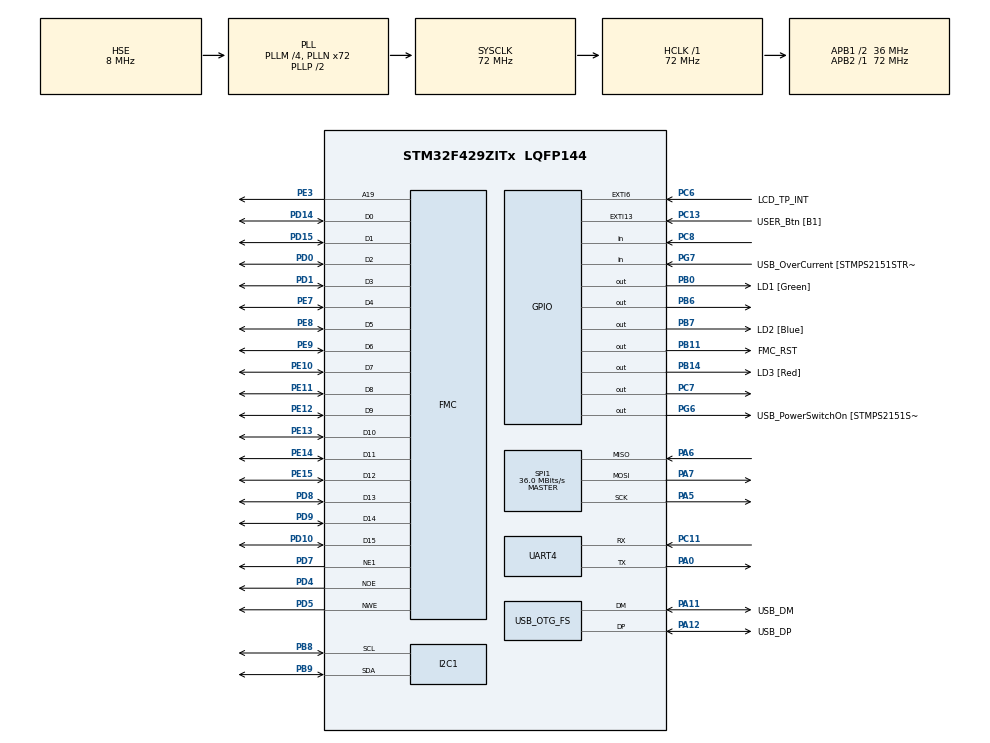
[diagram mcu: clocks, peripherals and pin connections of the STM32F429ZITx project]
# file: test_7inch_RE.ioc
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DMA2D.ColorMode=DMA2D_OUTPUT_RGB565
FMC.AddressSetupTime1=6
FMC.BusTurnAroundDuration1=0
FMC.DataSetupTime1=6
I2C1.I2C_Mode=I2C_Fast
Mcu.Family=STM32F4
Mcu.Name=STM32F429ZITx
Mcu.Package=LQFP144
Mcu.UserConstants=VSync_TIM_Period,16000-1;VSync_TIM_Prescaler,180/2-1
NVIC.DMA2D_IRQn=true\:0\:0\:false\:false\:true\:true\:true
NVIC.EXTI15_10_IRQn=true\:0\:0\:false\:false\:true\:true\:true
NVIC.EXTI9_5_IRQn=true\:0\:0\:false\:false\:true\:true\:true
NVIC.OTG_FS_IRQn=true\:0\:0\:false\:false\:true\:false\:true
NVIC.PriorityGroup=NVIC_PRIORITYGROUP_4
NVIC.TIM6_DAC_IRQn=true\:0\:0\:false\:false\:true\:true\:true
NVIC.TIM7_IRQn=true\:0\:0\:false\:false\:true\:true\:true
PA0/WKUP.Mode=Asynchronous
PA0/WKUP.Signal=UART4_TX
PA1.GPIO_Label=RMII_REF_CLK [LAN8742A-CZ-TR_REFCLK0]
PA1.Signal=ETH_REF_CLK
PA10.GPIO_Label=USB_ID
PA10.Signal=USB_OTG_FS_ID
PA11.GPIO_Label=USB_DM
PA11.Mode=Device_Only
PA11.Signal=USB_OTG_FS_DM
PA12.GPIO_Label=USB_DP
PA12.Mode=Device_Only
PA12.Signal=USB_OTG_FS_DP
PA13.GPIO_Label=TMS
PA13.Mode=Serial_Wire
PA13.Signal=SYS_JTMS-SWDIO
PA14.GPIO_Label=TCK
PA14.Mode=Serial_Wire
PA14.Signal=SYS_JTCK-SWCLK
PA2.GPIO_Label=RMII_MDIO [LAN8742A-CZ-TR_MDIO]
PA2.Signal=ETH_MDIO
PA5.Mode=Full_Duplex_Master
PA5.Signal=SPI1_SCK
PA6.Mode=Full_Duplex_Master
PA6.Signal=SPI1_MISO
PA7.Mode=Full_Duplex_Master
PA7.Signal=SPI1_MOSI
PA8.GPIO_Label=USB_SOF [TP1]
PA8.Signal=USB_OTG_FS_SOF
PA9.GPIO_Label=USB_VBUS
PA9.Signal=USB_OTG_FS_VBUS
PB0.GPIO_Label=LD1 [Green]
PB0.Signal=GPIO_Output
PB11.GPIO_Label=FMC_RST
PB11.Signal=GPIO_Output
PB14.GPIO_Label=LD3 [Red]
PB14.Signal=GPIO_Output
PB6.Signal=GPIO_Output
PB7.GPIO_Label=LD2 [Blue]
PB7.Signal=GPIO_Output
PB8.Mode=I2C
PB8.Signal=I2C1_SCL
PB9.Mode=I2C
PB9.Signal=I2C1_SDA
PC1.GPIO_Label=RMII_MDC [LAN8742A-CZ-TR_MDC]
PC1.Signal=ETH_MDC
PC11.Mode=Asynchronous
PC11.Signal=UART4_RX
PC13.GPIO_Label=USER_Btn [B1]
PC13.Signal=GPXTI13
PC14/OSC32_IN.Signal=RCC_OSC32_IN
PC15/OSC32_OUT.Signal=RCC_OSC32_OUT
PC6.GPIO_Label=LCD_TP_INT
PC6.GPIO_ModeDefaultEXTI=GPIO_MODE_IT_FALLING
PC6.GPIO_PuPd=GPIO_NOPULL
PC6.Signal=GPXTI6
PC7.Signal=GPIO_Output
PC8.Signal=GPIO_Input
PD0.Signal=FMC_D2_DA2
PD1.Signal=FMC_D3_DA3
PD10.Signal=FMC_D15_DA15
PD14.Signal=FMC_D0_DA0
PD15.Signal=FMC_D1_DA1
PD4.Signal=FMC_NOE
PD5.Signal=FMC_NWE
PD7.Mode=NorPsramChipSelect1_1
PD7.Signal=FMC_NE1
PD8.Signal=FMC_D13_DA13
PD9.Signal=FMC_D14_DA14
PE10.Signal=FMC_D7_DA7
PE11.Signal=FMC_D8_DA8
PE12.Signal=FMC_D9_DA9
PE13.Signal=FMC_D10_DA10
PE14.Signal=FMC_D11_DA11
PE15.Signal=FMC_D12_DA12
PE3.Signal=FMC_A19
PE7.Signal=FMC_D4_DA4
PE8.Signal=FMC_D5_DA5
PE9.Signal=FMC_D6_DA6
PG6.GPIO_Label=USB_PowerSwitchOn [STMPS2151STR_EN]
PG6.Signal=GPIO_Output
PG7.GPIO_Label=USB_OverCurrent [STMPS2151STR_FAULT]
PG7.Signal=GPIO_Input
PH0/OSC_IN.GPIO_Label=MCO [STM32F103CBT6_PA8]
PH0/OSC_IN.Mode=HSE-External-Oscillator
PH0/OSC_IN.Signal=RCC_OSC_IN
PH1/OSC_OUT.Mode=HSE-External-Oscillator
PH1/OSC_OUT.Signal=RCC_OSC_OUT
ProjectManager.HeapSize=0x200
ProjectManager.StackSize=0x4000
ProjectManager.TargetToolchain=STM32CubeIDE
RCC.48MHZClocksFreq_Value=48000000
RCC.AHBFreq_Value=72000000
RCC.APB1CLKDivider=RCC_HCLK_DIV2
RCC.APB1Freq_Value=36000000
RCC.APB1TimFreq_Value=72000000
RCC.APB2Freq_Value=72000000
RCC.APB2TimFreq_Value=72000000
RCC.CortexFreq_Value=72000000
RCC.HCLKFreq_Value=72000000
RCC.HSE_VALUE=8000000
RCC.HSI_VALUE=16000000
RCC.LSE_VALUE=32768
RCC.PLLM=4
RCC.PLLMUL=RCC_PLL_MUL9
RCC.PLLN=72
RCC.PLLQ=3
RCC.PRESCALERUSB=RCC_USBCLKSOURCE_PLL_DIV1_5
RCC.SYSCLKFreq_VALUE=72000000
RCC.SYSCLKSource=RCC_SYSCLKSOURCE_PLLCLK
RCC.SYSCLKSourceVirtual=RCC_SYSCLKSOURCE_PLLCLK
RCC.USBFreq_Value=48000000
RCC.VCOOutputFreq_Value=144000000
SH.FMC_A19.0=FMC_A19,A19_1
SH.FMC_D0_DA0.0=FMC_D0,16b-d1
SH.FMC_D10_DA10.0=FMC_D10,16b-d1
SH.FMC_D11_DA11.0=FMC_D11,16b-d1
SH.FMC_D12_DA12.0=FMC_D12,16b-d1
SH.FMC_D13_DA13.0=FMC_D13,16b-d1
SH.FMC_D14_DA14.0=FMC_D14,16b-d1
SH.FMC_D15_DA15.0=FMC_D15,16b-d1
SH.FMC_D1_DA1.0=FMC_D1,16b-d1
SH.FMC_D2_DA2.0=FMC_D2,16b-d1
SH.FMC_D3_DA3.0=FMC_D3,16b-d1
SH.FMC_D4_DA4.0=FMC_D4,16b-d1
SH.FMC_D5_DA5.0=FMC_D5,16b-d1
SH.FMC_D6_DA6.0=FMC_D6,16b-d1
SH.FMC_D7_DA7.0=FMC_D7,16b-d1
SH.FMC_D8_DA8.0=FMC_D8,16b-d1
SH.FMC_D9_DA9.0=FMC_D9,16b-d1
SH.FMC_NOE.0=FMC_NOE,Lcd1
SH.FMC_NWE.0=FMC_NWE,Lcd1
SPI1.CalculateBaudRate=36.0 MBits/s
SPI1.Direction=SPI_DIRECTION_2LINES
SPI1.Mode=SPI_MODE_MASTER
SPI1.VirtualType=VM_MASTER
STMicroelectronics.X-CUBE-TOUCHGFX.4.16.0.ApplicationCcGraphicsJjApplication=TouchGFXOoGenerator
STMicroelectronics.X-CUBE-TOUCHGFX.4.16.0.tgfx_block_size=200*20
STMicroelectronics.X-CUBE-TOUCHGFX.4.16.0.tgfx_buffering_strategy=Partial
STMicroelectronics.X-CUBE-TOUCHGFX.4.16.0.tgfx_custom_height=480
STMicroelectronics.X-CUBE-TOUCHGFX.4.16.0.tgfx_custom_width=800
STMicroelectronics.X-CUBE-TOUCHGFX.4.16.0.tgfx_hardware_accelerator=dma_2d
STMicroelectronics.X-CUBE-TOUCHGFX.4.16.0.tgfx_number_of_blocks=20
TIM6.Period=1000-1
TIM6.Prescaler=180/2-1
TIM7.Period=VSync_TIM_Period
TIM7.Prescaler=VSync_TIM_Prescaler
UART4.VirtualMode=Asynchronous
USB_DEVICE.CLASS_NAME_FS=CDC
USB_DEVICE.VirtualMode-CDC_FS=Cdc
USB_DEVICE.VirtualModeFS=Cdc_FS
USB_OTG_FS.VirtualMode=Device_Only
VP_CRC_VS_CRC.Mode=CRC_Activate
VP_DMA2D_VS_DMA2D.Mode=DMA2D_Activate
VP_RTC_VS_RTC_Activate.Mode=RTC_Enabled
VP_STMicroelectronics.X-CUBE-TOUCHGFX_VS_GraphicsJjApplication_4.16.0.Mode=GraphicsJjApplication
VP_TIM6_VS_ClockSourceINT.Mode=Enable_Timer
VP_TIM7_VS_ClockSourceINT.Mode=Enable_Timer
VP_USB_DEVICE_VS_USB_DEVICE_CDC_FS.Mode=CDC_FS
board=NUCLEO-F429ZI

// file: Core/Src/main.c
/* USER CODE BEGIN Header */
/**
  ******************************************************************************
  * @file           : main.c
  * @brief          : Main program body
  ******************************************************************************
  * @attention
  *
  * <h2><center>&copy; Copyright (c) 2021 STMicroelectronics.
  * All rights reserved.</center></h2>
  *
  * This software component is licensed by ST under Ultimate Liberty license
  * SLA0044, the "License"; You may not use this file except in compliance with
  * the License. You may obtain a copy of the License at:
  *                             www.st.com/SLA0044
  *
  ******************************************************************************
  */
/* USER CODE END Header */
#include "main.h"
#include "crc.h"
#include "dma2d.h"
#include "i2c.h"
#include "rtc.h"
#include "spi.h"
#include "tim.h"
#include "usart.h"
#include "usb_device.h"
#include "gpio.h"
#include "fmc.h"
#include "app_touchgfx.h"

/* USER CODE BEGIN Includes */
#include "lcd.h"
#include "lcd_TP.h"
#include "usbd_cdc_if.h"
#include "string.h"
#include "pcstm32.h"
#include "liaison_uc_fpga.h"
/* USER CODE END Includes */

/* USER CODE BEGIN PV */

	/* PARAMETRES POUR LA GENERATION DE FLUX*/
	int IHM_G_ResolH=0;
	int IHM_G_ResolV=0;
    int IHM_G_mire=0;
    int IHM_G_standard=0;
    int IHM_G_hfp=0;
    int IHM_G_vfp=0;
    int IHM_G_hbp=0;
    int IHM_G_vbp=0;
    int IHM_G_hlength=0;
    int IHM_G_vlength=0;
    int IHM_G_hsyncpulse=0;
    int IHM_G_vsyncpulse=0;
    int IHM_G_hpolsync=0;
    int IHM_G_vpolsync=0;
    int IHM_G_pclock=0;
    int IHM_G_fluxcommencer=0;

    /* PARAMETRES POUR LA GENERATION DU BUS*/
    int IHM_G_protocole=0;
    int IHM_G_freq=0;
    int IHM_G_octet=0;
    int IHM_G_motbinaire=0;
    int IHM_G_taillemot=0;
    int IHM_G_idcmd=0;
    int IHM_G_operateur=0;
    int IHM_G_facteurbaud=0;
    int IHM_G_adresse=0;
    int IHM_G_pins=0;
    int IHM_G_buscommencer=0;

    /* PARAMETRES POUR LA RECEPTION DU BUS*/
    int IHM_R_taillebus=0;
    int IHM_R_taillemot=0;
    int IHM_R_adresse=0;
    int IHM_R_operateurbaud=0;
    int IHM_R_facteurbaud=0;
    int IHM_R_motbinaire=0;
    int IHM_R_commencer=0;

    /* PARAMETRES POUR LA RECEPTION DU FLUX*/
    int IHM_R_ResolH=0;
	int IHM_R_ResolV=0;
    int IHM_R_Hsync=0;
	int IHM_R_Vsync=0;
    int IHM_R_blankingH=0;
    int IHM_R_blankingV=0;
    int IHM_R_frameformat=0;
    int IHM_R_vidformat=0;
    int IHM_R_data_dispo_SDI=0;
    int IHM_R_data_dispo_DVI=0;

    /* PARAMETRE POUR LA CONNEXION USB*/
    uint8_t buffer_verif[140]={'\0'};

    /* PARAMETRES GLOBAUX POUR LE SPI A COMPLETER*/

/* USER CODE END PV */

void SystemClock_Config(void);

/* USER CODE BEGIN 0 */
extern void DisplayDriver_TransferCompleteCallback();
/* USER CODE END 0 */

int main(void)
{
  /* USER CODE BEGIN 1 */
     IHM_R_taillebus=20;
     IHM_R_taillemot=40;
     IHM_R_adresse=5;
     IHM_R_operateurbaud=2;
     IHM_R_facteurbaud=3;
     IHM_R_motbinaire=1110;
     IHM_R_ResolH=1080;
 	 IHM_R_ResolV=7200;
     IHM_R_Hsync=0;
 	 IHM_R_Vsync=0;
     IHM_R_blankingH=0;
     IHM_R_blankingV=0;
     IHM_R_frameformat=0;
     IHM_R_vidformat=0;
     IHM_R_data_dispo_SDI=0;
     IHM_R_data_dispo_DVI=0;

  /* USER CODE END 1 */

  /* MCU Configuration--------------------------------------------------------*/

  /* Reset of all peripherals, Initializes the Flash interface and the Systick. */
  HAL_Init();

  /* Configure the system clock */
  SystemClock_Config();

  /* Initialize all configured peripherals */
  MX_GPIO_Init();
  MX_FMC_Init();
  MX_CRC_Init();
  MX_DMA2D_Init();
  MX_TIM7_Init();
  MX_TIM6_Init();
  MX_I2C1_Init();
  MX_USB_DEVICE_Init();
  MX_RTC_Init();
  MX_UART4_Init();
  MX_SPI1_Init();
  MX_TouchGFX_Init();
  /* USER CODE BEGIN 2 */
  HAL_GPIO_WritePin(LD2_GPIO_Port, LD2_Pin, 1);
  LCD_init();
  LCD_backlight(1);
  LCD_graphicsMode();
  LCD_TP_init();
  HAL_TIM_Base_Start_IT(&htim7);
  /* USER CODE END 2 */

  /* Infinite loop */
  /* USER CODE BEGIN WHILE */
  s_gen_flux gf;
  s_gen_bus gb;
  s_rec_bus rb;
  s_rec_flux rf;
  while (1)
  {
	    /* USER CODE END WHILE */
		    if(buffer_verif[0]!='\0')
		    {
				    s_gen_flux_config( &gf);
				    s_gen_bus_config( &gb);
				    s_rec_bus_config( &rb);
				    s_rec_flux_config( &rf);

				    if(gf.commencer==1)
				    {
				        IHM_G_ResolH=gf.width;
				        IHM_G_ResolV=gf.height;
				        IHM_G_mire=gf.mire;
				        IHM_G_standard=gf.standard;
				        IHM_G_hfp=gf.hfp;
				        IHM_G_vfp=gf.vfp;
				        IHM_G_hbp=gf.hbp;
				        IHM_G_vbp=gf.vbp;
				        IHM_G_hlength=gf.hlength;
				        IHM_G_vlength=gf.vlength;
				        IHM_G_hsyncpulse=gf.hsyncpulse;
				        IHM_G_vsyncpulse=gf.vsyncpulse;
				        IHM_G_hpolsync=gf.hpolsync;
				        IHM_G_vpolsync=gf.vpolsync;
				        IHM_G_pclock=gf.pclock;
				    }

				    if(gb.commencer==1)
				    {
				        IHM_G_protocole=gb.protocole;
				        IHM_G_freq=gb.freq;
				        IHM_G_octet=gb.octet;
				        IHM_G_motbinaire=gb.motbinaire;
				        IHM_G_taillemot=gb.taillemot;
				        IHM_G_idcmd=gb.idcmd;
				        IHM_G_operateur=gb.operateur;
				        IHM_G_facteurbaud=gb.facteurbaud;
				        IHM_G_adresse=gb.adresse;
				        IHM_G_pins=gb.pins;
				    }
				    clear_buffer(buffer_verif);
			 }
		  MX_TouchGFX_Process();
		  //LIAISON STM32 FPGA
		  if(IHM_G_fluxcommencer==1)
		  	 {
		      //Completer par l'envoie des donnees du STM32 au FPGA de la generation FLUX
				//Exemple: votre_fonction_denvoie_pour_la_generation_flux(IHM_G_ResolH,et autres parametres);
			  Envoie_DVI();
			  //A la fin on remet la variable a 0 comme ce qui suit ! DONC NE PAS MODIFIER LA LIGNE SUIVANTE !
			  IHM_G_fluxcommencer=0;
			 }

		  else if(IHM_G_buscommencer==1)
			 {
			  //Completer par l'envoie des donnees du STM32 au FPGA de la generation BUS
			  //Exemple: votre_fonction_denvoie_pour_la_generation_bus(IHM_G_protocole,et autres parametres);
			  Envoie_Bus_com();
			  //A la fin on remet la variable a 0 comme ce qui suit ! DONC NE PAS MODIFIER LA LIGNE SUIVANTE !
			  IHM_G_buscommencer=0;
			 }

		  else if(IHM_R_commencer==1)
			 {
			  //Completer par la reception des donnees du FPGA au STM32 de la reception FLUX
			  //Les parametres globales a completer sont des entiers ainsi faites comme l'exemple
			  //Exemple:  IHM_R_ResolH = votre_fonction_de_reception_de_la_resolution_en_hauteur();
			   rb.adresse = IHM_R_adresse;
			   rb.facteurbaud = IHM_R_facteurbaud;
			   rb.motbinaire = IHM_R_motbinaire;
			   rb.operateurbaud = IHM_R_operateurbaud;
			   rb.taillebus = IHM_R_taillebus;
			   rb.taillemot = IHM_R_taillemot;
			  //A la fin on remet la variable a 0 comme ce qui suit ! DONC NE PAS MODIFIER LA LIGNE SUIVANTE !
			  IHM_R_commencer=0;
			 }

		  else if((IHM_R_data_dispo_SDI==1) ||(IHM_R_data_dispo_DVI==1))
			 {
			  //Completer par la reception des donnees du FPGA au STM32 de la reception BUS
			  //Les parametres globales a completer sont des entiers ainsi faites comme l'exemple
			  //Exemple:  IHM_R_taillebus = votre_fonction_de_reception_de_la_tailledubus();
			  	  if (IHM_R_data_dispo_SDI==1)
			  	  {
				  	  rf.blankingH = IHM_R_blankingH;
				  	  rf.blankingV = IHM_R_blankingV;
				  	  rf.frameformat = IHM_R_frameformat;
				  	  rf.vidformat = IHM_R_vidformat;
			  	  }else if(IHM_R_data_dispo_DVI==1)
			  	  {
				  	  rf.height = IHM_R_ResolV;
				  	  rf.width = IHM_R_ResolH;
				  	  rf.Hsync = IHM_R_Hsync;
				  	  rf.Vsync = IHM_R_Vsync;
				  	  rf.blankingH = IHM_R_blankingH;
				  	  rf.blankingV = IHM_R_blankingV;
			  	  }

			  //A la fin on remet la variable a 0 comme ce qui suit ! DONC NE PAS MODIFIER LES 2 LIGNES SUIVANTES !
			  IHM_R_data_dispo_SDI=0;
			  IHM_R_data_dispo_DVI=0;
			 }
		  }
}

void SystemClock_Config(void)
{
  RCC_OscInitTypeDef RCC_OscInitStruct = {0};
  RCC_ClkInitTypeDef RCC_ClkInitStruct = {0};
  RCC_PeriphCLKInitTypeDef PeriphClkInitStruct = {0};

  /** Configure the main internal regulator output voltage
  */
  __HAL_RCC_PWR_CLK_ENABLE();
  __HAL_PWR_VOLTAGESCALING_CONFIG(PWR_REGULATOR_VOLTAGE_SCALE3);
  /** Initializes the RCC Oscillators according to the specified parameters
  * in the RCC_OscInitTypeDef structure.
  */
  RCC_OscInitStruct.OscillatorType = RCC_OSCILLATORTYPE_LSI|RCC_OSCILLATORTYPE_HSE;
  RCC_OscInitStruct.HSEState = RCC_HSE_ON;
  RCC_OscInitStruct.LSIState = RCC_LSI_ON;
  RCC_OscInitStruct.PLL.PLLState = RCC_PLL_ON;
  RCC_OscInitStruct.PLL.PLLSource = RCC_PLLSOURCE_HSE;
  RCC_OscInitStruct.PLL.PLLM = 4;
  RCC_OscInitStruct.PLL.PLLN = 72;
  RCC_OscInitStruct.PLL.PLLP = RCC_PLLP_DIV2;
  RCC_OscInitStruct.PLL.PLLQ = 3;
  if (HAL_RCC_OscConfig(&RCC_OscInitStruct) != HAL_OK)
  {
    Error_Handler();
  }
  /** Initializes the CPU, AHB and APB buses clocks
  */
  RCC_ClkInitStruct.ClockType = RCC_CLOCKTYPE_HCLK|RCC_CLOCKTYPE_SYSCLK
                              |RCC_CLOCKTYPE_PCLK1|RCC_CLOCKTYPE_PCLK2;
  RCC_ClkInitStruct.SYSCLKSource = RCC_SYSCLKSOURCE_PLLCLK;
  RCC_ClkInitStruct.AHBCLKDivider = RCC_SYSCLK_DIV1;
  RCC_ClkInitStruct.APB1CLKDivider = RCC_HCLK_DIV2;
  RCC_ClkInitStruct.APB2CLKDivider = RCC_HCLK_DIV1;

  if (HAL_RCC_ClockConfig(&RCC_ClkInitStruct, FLASH_LATENCY_2) != HAL_OK)
  {
    Error_Handler();
  }
  PeriphClkInitStruct.PeriphClockSelection = RCC_PERIPHCLK_RTC;
  PeriphClkInitStruct.RTCClockSelection = RCC_RTCCLKSOURCE_LSI;
  if (HAL_RCCEx_PeriphCLKConfig(&PeriphClkInitStruct) != HAL_OK)
  {
    Error_Handler();
  }
}

/* USER CODE BEGIN 4 */
int touchgfxDisplayDriverTransmitActive(){
	if(!LCD_isBusy(0x50, 0x80)) return 1;
	return 0;

}
void touchgfxDisplayDriverTransmitBlock(const uint8_t* pixels, uint16_t x, uint16_t y, uint16_t w, uint16_t h){
	LCD_drawBuffer((uint16_t *)pixels, x, y, w, h);
	DisplayDriver_TransferCompleteCallback();
}
/* USER CODE END 4 */

void Error_Handler(void)
{
  __disable_irq();
  while (1)
  {
  }
}

/************************ (C) COPYRIGHT STMicroelectronics *****END OF FILE****/
